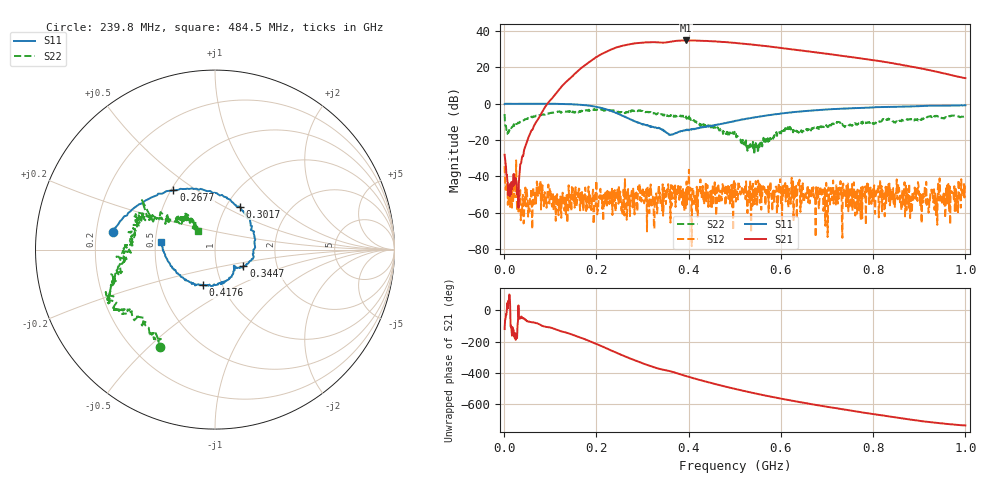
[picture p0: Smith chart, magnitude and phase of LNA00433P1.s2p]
! Created with skrf 1.9.0 (http://scikit-rf.org).
# Hz S RI R 50.0
!freq ReS11 ImS11 ReS21 ImS21 ReS12 ImS12 ReS22 ImS22
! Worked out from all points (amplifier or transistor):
!   1001 points, 1 MHz to 1 GHz, reference 50 ohm
!   highest |S21| = 34.8 dB at 394.6 MHz (marker M1)
!   |S21| within 3 dB of that: 255.5 MHz to 563.3 MHz (307.7 MHz wide, 75.2 % of centre)
!   unconditionally stable (mu >= 1): 3.597 MHz to 67.8 MHz; 293.7 MHz to 400.1 MHz; 400.8 MHz to end of sweep (the widest 3 of 32)
!   at 166.8 MHz: K = 1.60, MAG = 32.2 dB, |S12| = -53.9 dB
!   at 500.5 MHz: K = 1.51, MAG = 34.4 dB, |S12| = -43.7 dB
!   at 1 GHz: K = 2.56, MAG = 22.8 dB, |S12| = -45.3 dB
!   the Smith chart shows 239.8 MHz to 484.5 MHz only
!   S11 on the Smith chart (normalised r, x): 239.8 MHz: 0.27, +0.08; 267.7 MHz: 0.51, +0.41; 301.7 MHz: 1.15, +0.60; 344.7 MHz: 1.35, -0.26; 417.6 MHz: 0.81, -0.34; 484.5 MHz: 0.54, +0.05
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1000000  0.9766 -0.00281  -0.0194 -0.0345  -0.0167 0.00942  0.4068 0.3241
1.08892e8  0.5303 -0.8409  -0.7929 -1.493  0.00137 0.00172  0.4294 -0.3815
1.67833e8  -0.2203 -0.905  -9.782 -0.6237  0.00308 0.00177  0.0597 -0.641
2.08792e8  -0.6661 -0.4082  -15.74 16.06  0.000535 0.00455  -0.2094 -0.6592
2.39761e8  -0.5704 0.1003  -2.438 34.08  -0.00327 -0.00265  -0.3064 -0.5419
2.67733e8  -0.232 0.3303  21.72 36.51  -0.0027 -0.0011  -0.4651 -0.3496
3.01699e8  0.1368 0.2391  45.26 16.86  -0.00218 0.00296  -0.5762 -0.1889
3.18682e8  0.218 0.1006  49.58 2.73  -0.00138 0.00363  -0.5545 -0.1204
3.34666e8  0.2157 -0.0401  47.81 -10.32  -0.000668 0.0046  -0.5072 -0.0504
3.44656e8  0.1586 -0.0918  45.12 -16.25  -0.000158 -0.000813  -0.5095 0.00569
3.68632e8  0.108 -0.1027  43 -31.18  -0.00173 0.00167  -0.4336 0.1513
3.94606e8  0.0523 -0.1829  27.75 -47.79  -0.00132 0.00376  -0.4058 0.1912
4.17583e8  -0.0667 -0.1987  9.846 -53.64  0.00464 0.00233  -0.2581 0.153
4.49551e8  -0.2117 -0.1323  -13.46 -50.88  0.00233 0.00332  -0.1638 0.168
4.84516e8  -0.2991 0.042  -31.94 -37.67  0.00515 -0.00207  -0.096 0.104
5.005e8  -0.3103 0.1333  -37.46 -29.34  0.00379 0.00531  -0.0922 0.1112
5.39461e8  -0.2347 0.3451  -41.32 -9.026  0.00621 0.00107  -0.0894 0.0064
5.85415e8  -0.0448 0.5065  -35.06 9.924  0.00198 0.000146  -0.1157 -0.0426
6.67333e8  0.3613 0.5428  -13.3 23.06  -0.00252 -0.00413  -0.2044 -0.0624
7.55245e8  0.6681 0.3477  3.999 18.57  0.000976 -0.000581  -0.2569 -0.000642
8.34166e8  0.8095 0.106  10.03 9.146  0.000286 -0.00205  -0.3683 -0.0288
1e9  0.8008 -0.4284  4.88 -1.364  -0.00408 -0.00357  -0.3502 0.2988
